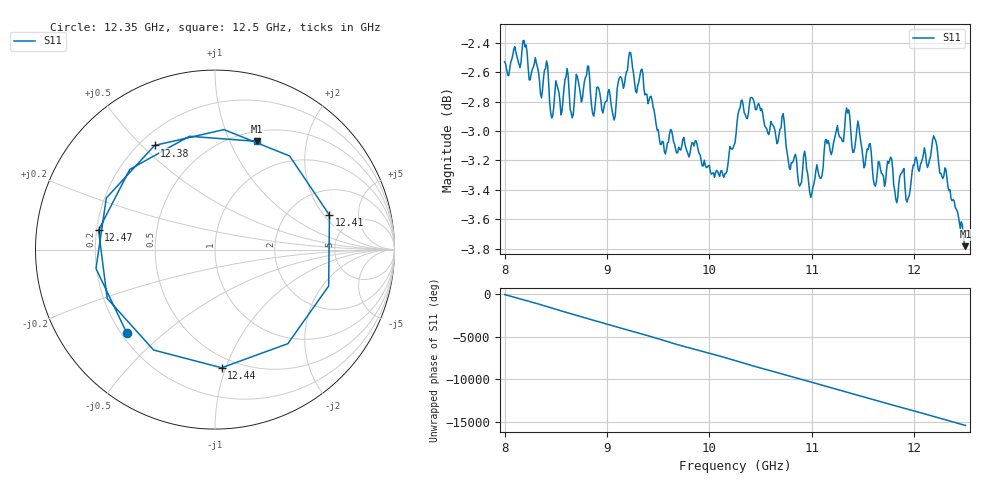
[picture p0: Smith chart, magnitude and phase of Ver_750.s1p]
#  HZ  S  RI  R  50.00
! Rohde & Schwarz Vector Network Analyzer
! Rohde-Schwarz,ZNA43-4Port,1332450044101932,2.92
! Created: UTC 6/9/2026, 6:31:20 AM
! freq[Hz]  re:S11  im:S11
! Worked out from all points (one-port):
!   451 points, 8 GHz to 12.5 GHz, reference 50 ohm
!   lowest |S11| = -3.8 dB at 12.5 GHz (marker M1), VSWR 4.66, Z = 30.6 + j63.5 ohm
!   |S11| at or under -10 dB: nowhere
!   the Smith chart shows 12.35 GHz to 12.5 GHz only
!   S11 on the Smith chart (normalised r, x): 12.35 GHz: 0.22, -0.38; 12.38 GHz: 0.26, +0.55; 12.41 GHz: 3.31, +2.28; 12.44 GHz: 0.42, -0.97; 12.47 GHz: 0.21, +0.08; 12.5 GHz: 0.61, +1.27
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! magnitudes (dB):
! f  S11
! 8 GHz  -2.5
! 8.2 GHz  -2.4
! 8.36 GHz  -2.8
! 8.41 GHz  -2.5
! 8.46 GHz  -2.9
! 8.57 GHz  -2.8
! 8.81 GHz  -2.6
! 8.86 GHz  -2.9
! 9.07 GHz  -2.9
! 9.13 GHz  -2.6
! 9.23 GHz  -2.5
! 9.54 GHz  -3.1
! 9.69 GHz  -3.1
! 10.15 GHz  -3.3
! 10.25 GHz  -3.1
! 10.42 GHz  -2.8
! 10.82 GHz  -3.2
! 11 GHz  -3.4
! 11.14 GHz  -3.1
! 11.38 GHz  -3.0
! 11.94 GHz  -3.5
! 12.2 GHz  -3.0
! 12.35 GHz  -3.4
! 12.38 GHz  -3.5
! 12.41 GHz  -3.5
! 12.44 GHz  -3.6
! 12.47 GHz  -3.6
! 12.5 GHz  -3.8
